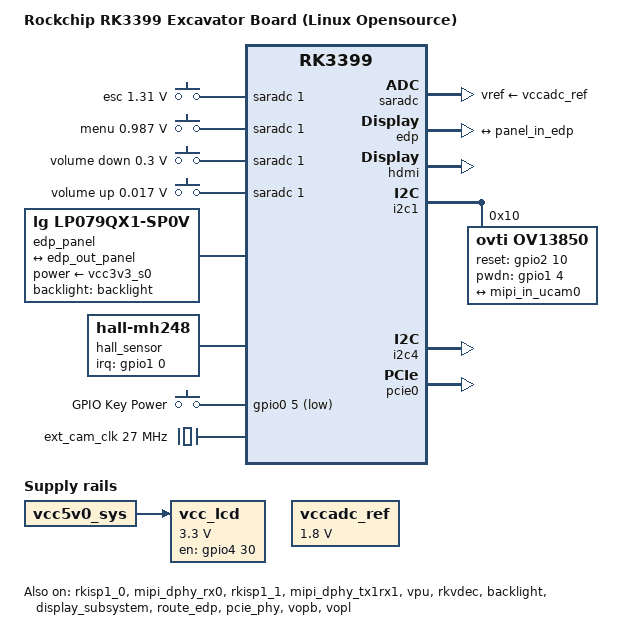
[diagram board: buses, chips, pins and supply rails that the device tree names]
/*
 * Copyright (c) 2016 Fuzhou Rockchip Electronics Co., Ltd
 *
 * This file is dual-licensed: you can use it either under the terms
 * of the GPL or the X11 license, at your option. Note that this dual
 * licensing only applies to this file, and not this project as a
 * whole.
 *
 *  a) This file is free software; you can redistribute it and/or
 *     modify it under the terms of the GNU General Public License as
 *     published by the Free Software Foundation; either version 2 of the
 *     License, or (at your option) any later version.
 *
 *     This file is distributed in the hope that it will be useful,
 *     but WITHOUT ANY WARRANTY; without even the implied warranty of
 *     MERCHANTABILITY or FITNESS FOR A PARTICULAR PURPOSE.  See the
 *     GNU General Public License for more details.
 *
 * Or, alternatively,
 *
 *  b) Permission is hereby granted, free of charge, to any person
 *     obtaining a copy of this software and associated documentation
 *     files (the "Software"), to deal in the Software without
 *     restriction, including without limitation the rights to use,
 *     copy, modify, merge, publish, distribute, sublicense, and/or
 *     sell copies of the Software, and to permit persons to whom the
 *     Software is furnished to do so, subject to the following
 *     conditions:
 *
 *     The above copyright notice and this permission notice shall be
 *     included in all copies or substantial portions of the Software.
 *
 *     THE SOFTWARE IS PROVIDED "AS IS", WITHOUT WARRANTY OF ANY KIND,
 *     EXPRESS OR IMPLIED, INCLUDING BUT NOT LIMITED TO THE WARRANTIES
 *     OF MERCHANTABILITY, FITNESS FOR A PARTICULAR PURPOSE AND
 *     NONINFRINGEMENT. IN NO EVENT SHALL THE AUTHORS OR COPYRIGHT
 *     HOLDERS BE LIABLE FOR ANY CLAIM, DAMAGES OR OTHER LIABILITY,
 *     WHETHER IN AN ACTION OF CONTRACT, TORT OR OTHERWISE, ARISING
 *     FROM, OUT OF OR IN CONNECTION WITH THE SOFTWARE OR THE USE OR
 *     OTHER DEALINGS IN THE SOFTWARE.
 */

/dts-v1/;

#include "rk3399-excavator-sapphire.dtsi"
#include "rk3399-linux.dtsi"
#include <dt-bindings/input/input.h>

/ {
	model = "Rockchip RK3399 Excavator Board (Linux Opensource)";
	compatible = "rockchip,rk3399-excavator-linux", "rockchip,rk3399";

	vcc_lcd: vcc-lcd {
		compatible = "regulator-fixed";
		regulator-name = "vcc_lcd";
		gpio = <&gpio4 30 GPIO_ACTIVE_HIGH>;
		startup-delay-us = <20000>;
		enable-active-high;
		regulator-min-microvolt = <3300000>;
		regulator-max-microvolt = <3300000>;
		regulator-boot-on;
		vin-supply = <&vcc5v0_sys>;
	};

	vccadc_ref: vccadc-ref {
		compatible = "regulator-fixed";
		regulator-name = "vcc1v8_sys";
		regulator-always-on;
		regulator-boot-on;
		regulator-min-microvolt = <1800000>;
		regulator-max-microvolt = <1800000>;
	};

	adc_keys: adc-keys {
		compatible = "adc-keys";
		io-channels = <&saradc 1>;
		io-channel-names = "buttons";
		poll-interval = <100>;
		keyup-threshold-microvolt = <1800000>;

		esc-key {
			linux,code = <KEY_ESC>;
			label = "esc";
			press-threshold-microvolt = <1310000>;
		};

		menu-key {
			linux,code = <KEY_MENU>;
			label = "menu";
			press-threshold-microvolt = <987000>;
		};

		vol-down-key {
			linux,code = <KEY_VOLUMEDOWN>;
			label = "volume down";
			press-threshold-microvolt = <300000>;
		};

		vol-up-key {
			linux,code = <KEY_VOLUMEUP>;
			label = "volume up";
			press-threshold-microvolt = <17000>;
		};
	};

	edp_panel: edp-panel {
		compatible = "lg,lp079qx1-sp0v", "panel-simple";
		backlight = <&backlight>;
		power-supply = <&vcc3v3_s0>;
		//enable-gpios = <&gpio4 30 GPIO_ACTIVE_HIGH>;
		//pinctrl-names = "default";
		//pinctrl-0 = <&lcd_panel_reset>;

		ports {
			panel_in_edp: endpoint {
				remote-endpoint = <&edp_out_panel>;
			};
		};
	};

	hall_sensor: hall-mh248 {
		compatible = "hall-mh248";
		pinctrl-names = "default";
		pinctrl-0 = <&mh248_irq_gpio>;
		irq-gpio = <&gpio1 0 IRQ_TYPE_EDGE_BOTH>;
		hall-active = <1>;
		status = "okay";
	};

	hdmi_sound: hdmi-sound {
		status = "okay";
	};

	gpio-keys {
		compatible = "gpio-keys";
		#address-cells = <1>;
		#size-cells = <0>;
		autorepeat;

		pinctrl-names = "default";
		pinctrl-0 = <&pwrbtn>;

		button@0 {
			gpios = <&gpio0 5 GPIO_ACTIVE_LOW>;
			linux,code = <KEY_POWER>;
			label = "GPIO Key Power";
			linux,input-type = <1>;
			gpio-key,wakeup = <1>;
			debounce-interval = <100>;
		};
	};
	ext_cam_clk: external-camera-clock {
		compatible = "fixed-clock";
		clock-frequency = <27000000>;
		clock-output-names = "CLK_CAMERA_27MHZ";
		#clock-cells = <0>;
	};


};

&rkisp1_0 {
	status = "okay";

	port {
		#address-cells = <1>;
		#size-cells = <0>;

		isp0_mipi_in: endpoint@0 {
			reg = <0>;
			remote-endpoint = <&dphy_rx0_out>;
		};
	};
};

&mipi_dphy_rx0 {
	status = "okay";

	ports {
		#address-cells = <1>;
		#size-cells = <0>;

		port@0 {
			reg = <0>;
			#address-cells = <1>;
			#size-cells = <0>;

			mipi_in_ucam0: endpoint@1 {
				reg = <1>;
				remote-endpoint = <&ucam_out0>;
				data-lanes = <1 2>;
			};
		};

		port@1 {
			reg = <1>;
			#address-cells = <1>;
			#size-cells = <0>;

			dphy_rx0_out: endpoint@0 {
				reg = <0>;
				remote-endpoint = <&isp0_mipi_in>;
			};
		};
	};
};

&isp0_mmu {
	status = "okay";
};

&rkisp1_1 {
	status = "okay";

	port {
		#address-cells = <1>;
		#size-cells = <0>;

		isp1_mipi_in: endpoint@0 {
			reg = <0>;
			remote-endpoint = <&dphy_tx1rx1_out>;
		};
	};
};

&mipi_dphy_tx1rx1 {
	status = "okay";

	ports {
		#address-cells = <1>;
		#size-cells = <0>;

		port@0 {
			reg = <0>;
			#address-cells = <1>;
			#size-cells = <0>;

			mipi_in_ucam1: endpoint@1 {
				reg = <1>;
				/* Unlinked camera */
				//remote-endpoint = <&ucam_out1>;
				data-lanes = <1 2>;
			};
		};

		port@1 {
			reg = <1>;
			#address-cells = <1>;
			#size-cells = <0>;

			dphy_tx1rx1_out: endpoint@0 {
				reg = <0>;
				remote-endpoint = <&isp1_mipi_in>;
			};
		};
	};
};

&isp1_mmu {
	status = "okay";
};

&saradc {
	vref-supply = <&vccadc_ref>;
};

&vpu {
	status = "okay";
	/* 0 means ion, 1 means drm */
	//allocator = <0>;
};

&rkvdec {
	status = "okay";
	/* 0 means ion, 1 means drm */
	//allocator = <0>;
};

&backlight {
	status = "okay";
	enable-gpios = <&gpio1 13 GPIO_ACTIVE_HIGH>;
};

&display_subsystem {
	status = "okay";
};

&route_edp {
	status = "okay";
};

&edp {
	status = "okay";
	force-hpd;

	ports {
		edp_out: port@1 {
			reg = <1>;
			#address-cells = <1>;
			#size-cells = <0>;

			edp_out_panel: endpoint@0 {
				reg = <0>;
				remote-endpoint = <&panel_in_edp>;
			};
		};
	};
};

&hdmi {
	pinctrl-names = "default";
	pinctrl-0 = <&hdmi_i2c_xfer>, <&hdmi_cec>;
	#address-cells = <1>;
	#size-cells = <0>;
	#sound-dai-cells = <0>;
	status = "okay";
};

&i2c1 {
	status = "okay";

	tc358749x: tc358749x@f {
		compatible = "toshiba,tc358749";
		reg = <0xf>;
		clocks = <&ext_cam_clk>;
		clock-names = "refclk";
		reset-gpios = <&gpio2 7 GPIO_ACTIVE_LOW>;
		interrupt-parent = <&gpio2>;
		interrupts = <12 IRQ_TYPE_LEVEL_LOW>;
		pinctrl-names = "default";
		pinctrl-0 = <&hdmiin_gpios>;
		status = "disabled";
		port {
			hdmiin_out0: endpoint {
				/* Unlinked mipi dphy rx0 */
				//remote-endpoint = <&mipi_in_ucam0>;
				data-lanes = <1 2 3 4>;
				clock-noncontinuous;
				link-frequencies =
					/bits/ 64 <297000000>;
			};
		};
	};

	ov13850: ov13850@10 {
		compatible = "ovti,ov13850";
		status = "okay";
		reg = <0x10>;
		clocks = <&cru SCLK_CIF_OUT>;
		clock-names = "xvclk";

		/* conflict with csi-ctl-gpios */
		reset-gpios = <&gpio2 10 GPIO_ACTIVE_HIGH>;
		pwdn-gpios = <&gpio1 4 GPIO_ACTIVE_HIGH>;
		pinctrl-names = "rockchip,camera_default";
		pinctrl-0 = <&cif_clkout>;

		port {
			ucam_out0: endpoint {
				remote-endpoint = <&mipi_in_ucam0>;
				data-lanes = <1 2>;
			};
		};
	};
};

&i2c4 {
	status = "okay";
};

&pcie_phy {
	status = "okay";
};

&pcie0 {
	status = "okay";
};

&vopb {
	assigned-clocks = <&cru DCLK_VOP0_DIV>;
	assigned-clock-parents = <&cru PLL_CPLL>;
	status = "okay";
};

&vopb_mmu {
	status = "okay";
};

&vopl {
	assigned-clocks = <&cru DCLK_VOP0_DIV>;
	assigned-clock-parents = <&cru PLL_CPLL>;
	status = "okay";
};

&vopl_mmu {
	status = "okay";
};

&pinctrl {
	hallsensor {
		mh248_irq_gpio: mh248-irq-gpio {
			rockchip,pins = <1 0 RK_FUNC_GPIO &pcfg_pull_up>;
		};
	};

	buttons {
		pwrbtn: pwrbtn {
			rockchip,pins = <0 5 RK_FUNC_GPIO &pcfg_pull_up>;
		};
	};

	lcd-panel {
		lcd_panel_reset: lcd-panel-reset {
			rockchip,pins = <4 30 RK_FUNC_GPIO &pcfg_pull_up>;
		};
	};

	hdmiin {
		hdmiin_gpios: hdmiin-gpios {
			rockchip,pins =
				<2 5 RK_FUNC_GPIO &pcfg_output_high>,
				<2 6 RK_FUNC_GPIO &pcfg_output_high>,
				<2 7 RK_FUNC_GPIO &pcfg_pull_none>,
				<2 8 RK_FUNC_GPIO &pcfg_output_high>,
				<2 9 RK_FUNC_GPIO &pcfg_output_high>,
				<2 10 RK_FUNC_GPIO &pcfg_output_low>,
				<2 12 RK_FUNC_GPIO &pcfg_pull_none>;
		};
	};
};
